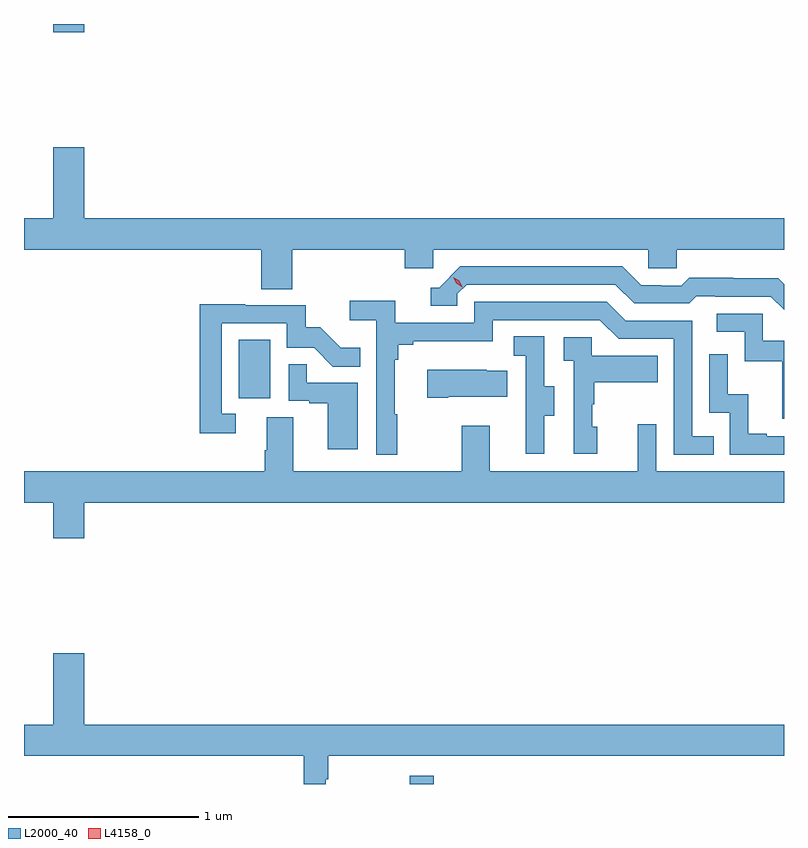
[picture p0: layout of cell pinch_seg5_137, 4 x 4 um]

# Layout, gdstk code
import gdstk
lib = gdstk.Library(unit=1e-6, precision=1e-09)
def R(c, l, rs):  # rectangles x0, y0, x1, y1
    for r in rs: c.add(gdstk.rectangle(r[:2], r[2:], *l))
def P(c, l, *ps):  # polygons
    for p in ps: c.add(gdstk.Polygon(p, *l))
L2000_40 = (2000, 40)
L4158_0 = (4158, 0)

pinch_seg5_137 = lib.new_cell('pinch_seg5_137')
R(pinch_seg5_137, L2000_40, [(1053.996,879.255,1054.124,879.298), (1053.098,881.286,1053.262,881.593), (1052.12,883.212,1052.284,883.255)])
P(pinch_seg5_137, L2000_40, [(1053.38,882.068),(1053.971,882.068),(1053.971,881.97),(1054.122,881.97),(1054.122,882.068),(1055.253,882.068),(1055.253,881.97),(1055.403,881.97),(1055.403,882.068),(1055.967,882.068),(1055.967,882.232),(1052.284,882.232),(1052.284,882.607),(1052.12,882.607),(1052.12,882.232),(1051.967,882.232),(1051.967,882.068),(1053.215,882.068),(1053.215,881.86),(1053.38,881.86)],
  [(1055.967,881.886),(1055.936,881.917),(1055.7,881.917),(1055.7,881.92),(1055.467,881.92),(1055.425,881.877),(1055.322,881.877),(1055.322,881.88),(1055.215,881.88),(1055.116,881.979),(1054.263,881.979),(1054.152,881.868),(1054.109,881.868),(1054.109,881.772),(1054.248,881.772),(1054.248,881.835),(1054.296,881.883),(1055.079,881.883),(1055.178,881.784),(1055.467,881.784),(1055.506,881.823),(1055.605,881.823),(1055.605,881.82),(1055.898,881.82),(1055.967,881.751)],
  [(1053.931,881.201),(1053.919,881.201),(1053.919,881.489),(1053.938,881.489),(1053.938,881.566),(1054.015,881.566),(1054.015,881.585),(1054.434,881.585),(1054.434,881.697),(1054.998,881.697),(1055.097,881.598),(1055.388,881.598),(1055.388,880.989),(1055.597,880.989),(1055.597,881.085),(1055.484,881.085),(1055.484,881.694),(1055.134,881.694),(1055.035,881.793),(1054.338,881.793),(1054.338,881.682),(1053.92,881.682),(1053.92,881.798),(1053.681,881.798),(1053.681,881.696),(1053.822,881.696),(1053.822,880.989),(1053.931,880.989)],
  [(1053.082,881.205),(1053.009,881.205),(1053.009,881.679),(1053.351,881.679),(1053.351,881.55),(1053.495,881.55),(1053.593,881.452),(1053.737,881.452),(1053.737,881.551),(1053.633,881.551),(1053.526,881.658),(1053.45,881.658),(1053.45,881.775),(1053.131,881.775),(1053.131,881.78),(1052.893,881.78),(1052.893,881.1),(1053.082,881.1)],
  [(1055.967,881.589),(1055.856,881.589),(1055.856,881.73),(1055.613,881.73),(1055.613,881.634),(1055.76,881.634),(1055.76,881.481),(1055.959,881.481),(1055.959,881.178),(1055.967,881.178)],
  [(1054.705,881.194),(1054.759,881.194),(1054.759,881.349),(1054.704,881.349),(1054.704,881.612),(1054.545,881.612),(1054.545,881.509),(1054.608,881.509),(1054.608,881.205),(1054.607,881.205),(1054.607,880.992),(1054.705,880.992)],
  [(1054.984,881.136),(1054.959,881.136),(1054.959,881.255),(1054.969,881.255),(1054.969,881.369),(1055.303,881.369),(1055.303,881.509),(1054.956,881.509),(1054.956,881.607),(1054.809,881.607),(1054.809,881.483),(1054.86,881.483),(1054.86,880.992),(1054.984,880.992)],
  [(1055.967,881.085),(1055.875,881.085),(1055.875,881.098),(1055.78,881.098),(1055.78,881.306),(1055.67,881.306),(1055.67,881.518),(1055.574,881.518),(1055.574,881.208),(1055.682,881.208),(1055.682,880.989),(1055.967,880.989)],
  [(1053.724,881.367),(1053.455,881.367),(1053.455,881.465),(1053.36,881.465),(1053.36,881.271),(1053.467,881.271),(1053.467,881.259),(1053.566,881.259),(1053.566,881.016),(1053.724,881.016)],
  [(1054.201,881.294),(1054.511,881.294),(1054.511,881.431),(1054.403,881.431),(1054.403,881.434),(1054.089,881.434),(1054.089,881.287),(1054.201,881.287)],
  [(1052.284,880.736),(1055.967,880.736),(1055.967,880.9),(1055.295,880.9),(1055.295,881.149),(1055.198,881.149),(1055.198,880.9),(1054.417,880.9),(1054.417,881.14),(1054.27,881.14),(1054.27,880.9),(1053.385,880.9),(1053.385,881.186),(1053.245,881.186),(1053.245,881.012),(1053.233,881.012),(1053.233,880.9),(1051.967,880.9),(1051.967,880.736),(1052.12,880.736),(1052.12,880.548),(1052.284,880.548)],
  [(1053.556,879.281),(1053.568,879.281),(1053.568,879.404),(1055.967,879.404),(1055.967,879.568),(1052.284,879.568),(1052.284,879.943),(1052.12,879.943),(1052.12,879.568),(1051.967,879.568),(1051.967,879.404),(1053.439,879.404),(1053.439,879.255),(1053.556,879.255)])
P(pinch_seg5_137, L4158_0, [(1054.273,881.87),(1054.243,881.89),(1054.227,881.922),(1054.227,881.923),(1054.227,881.923),(1054.258,881.903),(1054.273,881.87),(1054.273,881.87)])

lib.write_gds('pinch_seg5_137.gds')
